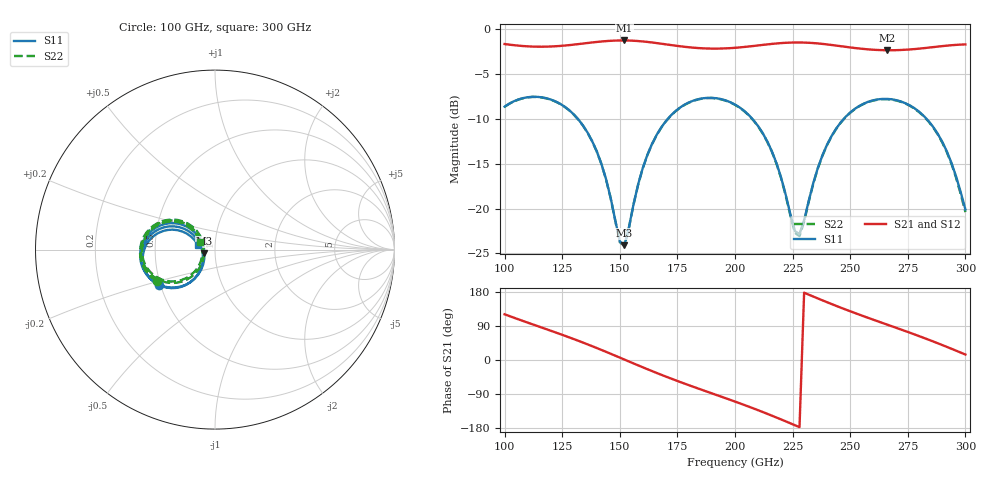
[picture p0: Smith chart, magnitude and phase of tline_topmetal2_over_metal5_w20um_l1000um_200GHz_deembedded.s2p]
! Created with skrf 2.0.1 (http://scikit-rf.org).
# GHz S DB R 50.0
!freq dBS11 angS11 dBS21 angS21 dBS12 angS12 dBS22 angS22
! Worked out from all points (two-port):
!   101 points, 100 GHz to 300 GHz, reference 50 ohm
!   highest |S21| = -1.28 dB at 152 GHz (marker M1); lowest = -2.4 dB at 266 GHz (marker M2)
!   |S21| within 3 dB of the highest: start of sweep to end of sweep
!   lowest |S11| = -24.1 dB at 152 GHz (marker M3), VSWR 1.13, Z = 44.4 - j1.74 ohm
!   |S11| at or under -10 dB: 131.7 GHz to 170.9 GHz (39.15 GHz wide, 25.9 % of centre); 207.5 GHz to 247.3 GHz (39.81 GHz wide, 17.5 % of centre); 283.1 GHz to end of sweep
!   |S22| runs from -24.2 to -7.6 dB; largest |S21 - S12| = 4.4e-16
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100  -8.65 -148.2  -1.68 120.6  -1.68 120.6  -8.67 -151.8
118  -7.71 178.2  -1.97 81.6  -1.97 81.6  -7.72 173.9
134  -10.74 149.6  -1.62 46.0  -1.62 46.0  -10.76 144.7
142  -15.01 139.7  -1.40 26.6  -1.40 26.6  -15.04 134.4
150  -23.67 169.2  -1.28 6.3  -1.28 6.3  -23.75 163.6
152  -24.10 -161.7  -1.28 1.2  -1.28 1.2  -24.19 -167.1
160  -15.47 -123.9  -1.39 -19.3  -1.39 -19.3  -15.50 -129.6
168  -10.96 -133.1  -1.64 -39.0  -1.64 -39.0  -10.99 -139.1
184  -7.82 -161.5  -2.12 -75.2  -2.12 -75.2  -7.85 -168.1
200  -8.42 170.1  -2.10 -109.7  -2.10 -109.7  -8.45 162.8
214  -12.52 148.0  -1.72 -142.0  -1.72 -142.0  -12.56 139.9
220  -16.54 145.5  -1.57 -156.8  -1.57 -156.8  -16.61 137.1
226  -22.51 174.3  -1.51 -172.1  -1.51 -172.1  -22.71 165.8
228  -22.87 -161.6  -1.50 -177.2  -1.50 -177.2  -23.08 -169.6
234  -17.14 -126.0  -1.57 167.4  -1.57 167.4  -17.21 -133.9
246  -10.37 -135.2  -1.92 137.9  -1.92 137.9  -10.41 -144.0
256  -8.30 -152.2  -2.23 115.2  -2.23 115.2  -8.33 -161.4
266  -7.79 -169.6  -2.37 93.5  -2.37 93.5  -7.82 -179.3
268  -7.83 -173.0  -2.37 89.2  -2.37 89.2  -7.87 177.1
278  -8.85 169.9  -2.24 67.3  -2.24 67.3  -8.89 159.5
288  -11.68 154.7  -1.96 44.2  -1.96 44.2  -11.74 143.7
300  -20.10 164.4  -1.72 14.4  -1.72 14.4  -20.40 152.2
